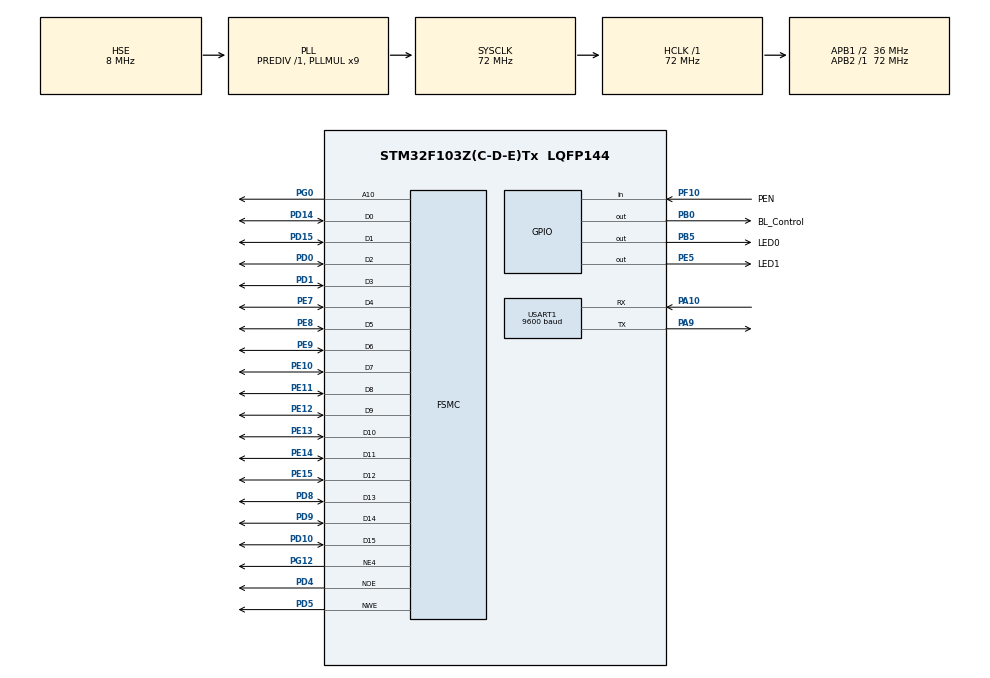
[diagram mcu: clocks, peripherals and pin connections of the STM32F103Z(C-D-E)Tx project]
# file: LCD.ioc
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FSMC.AddressSetupTime1=1
FSMC.BusTurnAroundDuration1=0
FSMC.DataSetupTime1=0xf
FSMC.ExtendedAddressSetupTime1=0
FSMC.ExtendedBusTurnAroundDuration1=0
FSMC.ExtendedDataSetupTime1=0x3
FSMC.ExtendedMode1=FSMC_EXTENDED_MODE_ENABLE
Mcu.Family=STM32F1
Mcu.Name=STM32F103Z(C-D-E)Tx
Mcu.Package=LQFP144
NVIC.PriorityGroup=NVIC_PRIORITYGROUP_4
NVIC.TIM6_IRQn=true\:0\:0\:false\:false\:true\:true\:true\:true
OSC_IN.Mode=HSE-External-Oscillator
OSC_IN.Signal=RCC_OSC_IN
OSC_OUT.Mode=HSE-External-Oscillator
OSC_OUT.Signal=RCC_OSC_OUT
PA10.Mode=Asynchronous
PA10.Signal=USART1_RX
PA9.Mode=Asynchronous
PA9.Signal=USART1_TX
PB0.GPIO_Label=BL_Control
PB0.Signal=GPIO_Output
PB5.GPIO_Label=LED0
PB5.Signal=GPIO_Output
PD0.Signal=FSMC_D2_DA2
PD1.Signal=FSMC_D3_DA3
PD10.Signal=FSMC_D15_DA15
PD14.Signal=FSMC_D0_DA0
PD15.Signal=FSMC_D1_DA1
PD4.Signal=FSMC_NOE
PD5.Signal=FSMC_NWE
PD8.Signal=FSMC_D13_DA13
PD9.Signal=FSMC_D14_DA14
PE10.Signal=FSMC_D7_DA7
PE11.Signal=FSMC_D8_DA8
PE12.Signal=FSMC_D9_DA9
PE13.Signal=FSMC_D10_DA10
PE14.Signal=FSMC_D11_DA11
PE15.Signal=FSMC_D12_DA12
PE5.GPIO_Label=LED1
PE5.Signal=GPIO_Output
PE7.Signal=FSMC_D4_DA4
PE8.Signal=FSMC_D5_DA5
PE9.Signal=FSMC_D6_DA6
PF10.GPIO_Label=PEN
PF10.Signal=GPIO_Input
PG0.Signal=FSMC_A10
PG12.Mode=NorPsramChipSelect4_1
PG12.Signal=FSMC_NE4
ProjectManager.HeapSize=0x200
ProjectManager.StackSize=0x400
ProjectManager.TargetToolchain=MDK-ARM V5.32
RCC.AHBFreq_Value=72000000
RCC.APB1CLKDivider=RCC_HCLK_DIV2
RCC.APB1Freq_Value=36000000
RCC.APB1TimFreq_Value=72000000
RCC.APB2Freq_Value=72000000
RCC.APB2TimFreq_Value=72000000
RCC.HCLKFreq_Value=72000000
RCC.PLLMUL=RCC_PLL_MUL9
RCC.PLLSourceVirtual=RCC_PLLSOURCE_HSE
RCC.SYSCLKFreq_VALUE=72000000
RCC.SYSCLKSource=RCC_SYSCLKSOURCE_PLLCLK
RCC.USBFreq_Value=72000000
SH.FSMC_A10.0=FSMC_A10,A10_1
SH.FSMC_D0_DA0.0=FSMC_D0,16b-d1
SH.FSMC_D10_DA10.0=FSMC_D10,16b-d1
SH.FSMC_D11_DA11.0=FSMC_D11,16b-d1
SH.FSMC_D12_DA12.0=FSMC_D12,16b-d1
SH.FSMC_D13_DA13.0=FSMC_D13,16b-d1
SH.FSMC_D14_DA14.0=FSMC_D14,16b-d1
SH.FSMC_D15_DA15.0=FSMC_D15,16b-d1
SH.FSMC_D1_DA1.0=FSMC_D1,16b-d1
SH.FSMC_D2_DA2.0=FSMC_D2,16b-d1
SH.FSMC_D3_DA3.0=FSMC_D3,16b-d1
SH.FSMC_D4_DA4.0=FSMC_D4,16b-d1
SH.FSMC_D5_DA5.0=FSMC_D5,16b-d1
SH.FSMC_D6_DA6.0=FSMC_D6,16b-d1
SH.FSMC_D7_DA7.0=FSMC_D7,16b-d1
SH.FSMC_D8_DA8.0=FSMC_D8,16b-d1
SH.FSMC_D9_DA9.0=FSMC_D9,16b-d1
SH.FSMC_NOE.0=FSMC_NOE,Lcd1
SH.FSMC_NWE.0=FSMC_NWE,Lcd1
TIM6.Period=4999
TIM6.Prescaler=7199
USART1.BaudRate=9600
USART1.VirtualMode=VM_ASYNC
VP_SYS_VS_ND.Mode=No_Debug
VP_TIM6_VS_ClockSourceINT.Mode=Enable_Timer
board=custom

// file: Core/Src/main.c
/* USER CODE BEGIN Header */
/**
 ******************************************************************************
 * @file           : main.c
 * @brief          : Main program body
 ******************************************************************************
 * @attention
 *
 * Copyright (c) 2023 STMicroelectronics.
 * All rights reserved.
 *
 * This software is licensed under terms that can be found in the LICENSE file
 * in the root directory of this software component.
 * If no LICENSE file comes with this software, it is provided AS-IS.
 *
 ******************************************************************************
 */
/* USER CODE END Header */
#include "main.h"
#include "tim.h"
#include "usart.h"
#include "gpio.h"
#include "fsmc.h"

/* USER CODE BEGIN Includes */
#include "lcd.h"
#include "touch.h"
#include "stdio.h"
#include "string.h"
#include "../lvgl/lvgl.h"
#include "lv_port_disp.h"
/* USER CODE END Includes */

/* USER CODE BEGIN PTD */
extern TIM_HandleTypeDef htim6;
/* USER CODE END PTD */

/* USER CODE BEGIN PD */
#define LVGL_TICK 5
/* USER CODE END PD */

void SystemClock_Config(void);

int main(void)
{

  /* MCU Configuration--------------------------------------------------------*/

  /* Reset of all peripherals, Initializes the Flash interface and the Systick. */
  HAL_Init();

  /* Configure the system clock */
  SystemClock_Config();

  /* Initialize all configured peripherals */
  MX_GPIO_Init();
  MX_FSMC_Init();
  MX_USART1_UART_Init();
  MX_TIM6_Init();
  /* USER CODE BEGIN 2 */
  lv_init();
  lv_port_disp_init();

  lv_obj_t *tabview = lv_tabview_create(lv_scr_act(), LV_DIR_TOP, 30);
  lv_obj_t *tab1 = lv_tabview_add_tab(tabview, "Tab 1");
  lv_obj_t *tab2 = lv_tabview_add_tab(tabview, "Tab 2");

  lv_obj_t *label = lv_label_create(tab1);
  lv_label_set_text(label, "1");
  lv_obj_align(label, LV_ALIGN_CENTER, 0, 0);

  HAL_TIM_Base_Start_IT(&htim6);
  char message[100];
  /* USER CODE END 2 */
  /* Infinite loop */
  /* USER CODE BEGIN WHILE */
  uint16_t x, y;
  while (1)
  {
    if (HAL_GPIO_ReadPin(PEN_GPIO_Port, PEN_Pin) == GPIO_PIN_RESET)
    {
      Touch_Read(&x, &y);
      sprintf(message, "%d %d\n", x, y);
      HAL_UART_Transmit(&huart1, (uint8_t *)message, strlen(message), 50);
      HAL_Delay(50);
    }
    /* USER CODE END WHILE */
  }
}

void SystemClock_Config(void)
{
  RCC_OscInitTypeDef RCC_OscInitStruct = {0};
  RCC_ClkInitTypeDef RCC_ClkInitStruct = {0};

  /** Initializes the RCC Oscillators according to the specified parameters
   * in the RCC_OscInitTypeDef structure.
   */
  RCC_OscInitStruct.OscillatorType = RCC_OSCILLATORTYPE_HSE;
  RCC_OscInitStruct.HSEState = RCC_HSE_ON;
  RCC_OscInitStruct.HSEPredivValue = RCC_HSE_PREDIV_DIV1;
  RCC_OscInitStruct.HSIState = RCC_HSI_ON;
  RCC_OscInitStruct.PLL.PLLState = RCC_PLL_ON;
  RCC_OscInitStruct.PLL.PLLSource = RCC_PLLSOURCE_HSE;
  RCC_OscInitStruct.PLL.PLLMUL = RCC_PLL_MUL9;
  if (HAL_RCC_OscConfig(&RCC_OscInitStruct) != HAL_OK)
  {
    Error_Handler();
  }

  /** Initializes the CPU, AHB and APB buses clocks
   */
  RCC_ClkInitStruct.ClockType = RCC_CLOCKTYPE_HCLK | RCC_CLOCKTYPE_SYSCLK | RCC_CLOCKTYPE_PCLK1 | RCC_CLOCKTYPE_PCLK2;
  RCC_ClkInitStruct.SYSCLKSource = RCC_SYSCLKSOURCE_PLLCLK;
  RCC_ClkInitStruct.AHBCLKDivider = RCC_SYSCLK_DIV1;
  RCC_ClkInitStruct.APB1CLKDivider = RCC_HCLK_DIV2;
  RCC_ClkInitStruct.APB2CLKDivider = RCC_HCLK_DIV1;

  if (HAL_RCC_ClockConfig(&RCC_ClkInitStruct, FLASH_LATENCY_2) != HAL_OK)
  {
    Error_Handler();
  }
}

void Error_Handler(void)
{
  __disable_irq();
  while (1)
  {
  }
}
